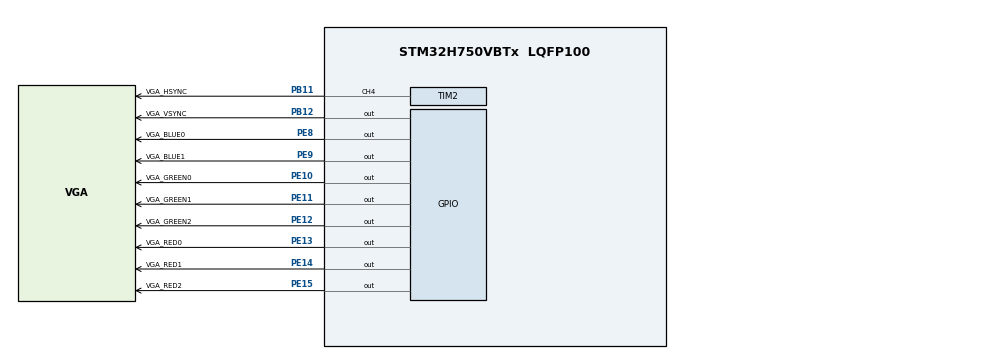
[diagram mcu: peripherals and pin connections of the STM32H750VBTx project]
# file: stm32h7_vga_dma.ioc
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CORTEX_M7.CPU_DCache=Enabled
CORTEX_M7.CPU_ICache=Enabled
Dma.Request0=TIM1_UP
Dma.TIM1_UP.0.Direction=DMA_MEMORY_TO_PERIPH
Dma.TIM1_UP.0.EventEnable=DISABLE
Dma.TIM1_UP.0.FIFOMode=DMA_FIFOMODE_DISABLE
Dma.TIM1_UP.0.Instance=DMA2_Stream5
Dma.TIM1_UP.0.MemDataAlignment=DMA_MDATAALIGN_HALFWORD
Dma.TIM1_UP.0.MemInc=DMA_MINC_ENABLE
Dma.TIM1_UP.0.Mode=DMA_NORMAL
Dma.TIM1_UP.0.PeriphDataAlignment=DMA_PDATAALIGN_HALFWORD
Dma.TIM1_UP.0.PeriphInc=DMA_PINC_DISABLE
Dma.TIM1_UP.0.Polarity=HAL_DMAMUX_REQ_GEN_RISING
Dma.TIM1_UP.0.Priority=DMA_PRIORITY_VERY_HIGH
Dma.TIM1_UP.0.RequestNumber=1
Dma.TIM1_UP.0.SignalID=NONE
Dma.TIM1_UP.0.SyncEnable=DISABLE
Dma.TIM1_UP.0.SyncPolarity=HAL_DMAMUX_SYNC_NO_EVENT
Dma.TIM1_UP.0.SyncRequestNumber=1
Dma.TIM1_UP.0.SyncSignalID=NONE
Mcu.Family=STM32H7
Mcu.Name=STM32H750VBTx
Mcu.Package=LQFP100
NVIC.DMA2_Stream5_IRQn=true\:0\:0\:false\:false\:true\:false\:true
NVIC.PriorityGroup=NVIC_PRIORITYGROUP_4
NVIC.TIM2_IRQn=true\:0\:0\:false\:false\:true\:true\:true
PA13\ (JTMS/SWDIO).Mode=Serial_Wire
PA13\ (JTMS/SWDIO).Signal=DEBUG_JTMS-SWDIO
PA14\ (JTCK/SWCLK).Mode=Serial_Wire
PA14\ (JTCK/SWCLK).Signal=DEBUG_JTCK-SWCLK
PB11.GPIO_Label=VGA_HSYNC
PB11.GPIO_Speed=GPIO_SPEED_FREQ_VERY_HIGH
PB11.Signal=S_TIM2_CH4
PB12.GPIO_Label=VGA_VSYNC
PB12.GPIO_Speed=GPIO_SPEED_FREQ_VERY_HIGH
PB12.Signal=GPIO_Output
PC14-OSC32_IN\ (OSC32_IN).Mode=LSE-External-Oscillator
PC14-OSC32_IN\ (OSC32_IN).Signal=RCC_OSC32_IN
PC15-OSC32_OUT\ (OSC32_OUT).Mode=LSE-External-Oscillator
PC15-OSC32_OUT\ (OSC32_OUT).Signal=RCC_OSC32_OUT
PE10.GPIO_Label=VGA_GREEN0
PE10.GPIO_Speed=GPIO_SPEED_FREQ_VERY_HIGH
PE10.Signal=GPIO_Output
PE11.GPIO_Label=VGA_GREEN1
PE11.GPIO_Speed=GPIO_SPEED_FREQ_VERY_HIGH
PE11.Signal=GPIO_Output
PE12.GPIO_Label=VGA_GREEN2
PE12.GPIO_Speed=GPIO_SPEED_FREQ_VERY_HIGH
PE12.Signal=GPIO_Output
PE13.GPIO_Label=VGA_RED0
PE13.GPIO_Speed=GPIO_SPEED_FREQ_VERY_HIGH
PE13.Signal=GPIO_Output
PE14.GPIO_Label=VGA_RED1
PE14.GPIO_Speed=GPIO_SPEED_FREQ_VERY_HIGH
PE14.Signal=GPIO_Output
PE15.GPIO_Label=VGA_RED2
PE15.GPIO_Speed=GPIO_SPEED_FREQ_VERY_HIGH
PE15.Signal=GPIO_Output
PE8.GPIO_Label=VGA_BLUE0
PE8.GPIO_Speed=GPIO_SPEED_FREQ_VERY_HIGH
PE8.Signal=GPIO_Output
PE9.GPIO_Label=VGA_BLUE1
PE9.GPIO_Speed=GPIO_SPEED_FREQ_VERY_HIGH
PE9.Signal=GPIO_Output
PH0-OSC_IN\ (PH0).Mode=HSE-External-Oscillator
PH0-OSC_IN\ (PH0).Signal=RCC_OSC_IN
PH1-OSC_OUT\ (PH1).Mode=HSE-External-Oscillator
PH1-OSC_OUT\ (PH1).Signal=RCC_OSC_OUT
ProjectManager.HeapSize=0x400
ProjectManager.StackSize=0x800
ProjectManager.TargetToolchain=Makefile
RCC.ADCFreq_Value=200000000
RCC.APB1Freq_Value=105000000
RCC.APB2Freq_Value=105000000
RCC.APB3Freq_Value=105000000
RCC.APB4Freq_Value=105000000
RCC.CSICalibrationValue=16
RCC.CortexFreq_Value=420000000
RCC.D1PPRE=RCC_APB3_DIV2
RCC.D2PPRE1=RCC_APB1_DIV2
RCC.D2PPRE2=RCC_APB2_DIV2
RCC.D3PPRE=RCC_APB4_DIV2
RCC.DIVM1=4
RCC.DIVM2=4
RCC.DIVM3=20
RCC.DIVN1=420
RCC.DIVN2=200
RCC.DIVN3=503
RCC.DIVQ3=4
RCC.DIVR3=8
RCC.FLatency=FLASH_LATENCY_2
RCC.HCLKFreq_Value=210000000
RCC.HPRE=RCC_HCLK_DIV2
RCC.HSE_VALUE=8000000
RCC.HSICalibrationValue=32
RCC.PLL2FRACN=0
RCC.PLL3FRACN=0
RCC.PLLFRACN=0
RCC.PLLSourceVirtual=RCC_PLLSOURCE_HSE
RCC.PWR_Regulator_Voltage_Scale=PWR_REGULATOR_VOLTAGE_SCALE0
RCC.ProductRev=revY
RCC.QSPICLockSelection=RCC_QSPICLKSOURCE_CLKP
RCC.RCC_TIM_PRescaler_Selection=RCC_TIMPRES_DESACTIVATED
RCC.RTCClockSelection=RCC_RTCCLKSOURCE_LSE
RCC.SDMMC1CLockSelection=RCC_SDMMCCLKSOURCE_PLL2
RCC.SYSCLKFreq_VALUE=420000000
RCC.SYSCLKSource=RCC_SYSCLKSOURCE_PLLCLK
RCC.USBCLockSelection=RCC_USBCLKSOURCE_PLL3
RCC.USBFreq_Value=50300000
SH.S_TIM2_CH4.0=TIM2_CH4,PWM Generation4 CH4
TIM1.Period=VGA_TIM1_PERIODE
TIM1.Prescaler=VGA_TIM1_PRESCALE
TIM2.Channel-PWM\ Generation3\ No\ Output=TIM_CHANNEL_3
TIM2.Channel-PWM\ Generation4\ CH4=TIM_CHANNEL_4
TIM2.OCPolarity_3=TIM_OCPOLARITY_LOW
TIM2.OCPolarity_4=TIM_OCPOLARITY_LOW
TIM2.Period=VGA_TIM2_HSYNC_PERIODE
TIM2.Prescaler=VGA_TIM2_HSYNC_PRESCALE
TIM2.Pulse-PWM\ Generation3\ No\ Output=VGA_TIM2_HTRIGGER_START - VGA_TIM2_DMA_DELAY
TIM2.Pulse-PWM\ Generation4\ CH4=VGA_TIM2_HSYNC_IMP
VP_RNG_VS_RNG.Mode=RNG_Activate
VP_RTC_VS_RTC_Activate.Mode=RTC_Enabled
VP_TIM1_VS_ClockSourceINT.Mode=Internal
VP_TIM2_VS_ClockSourceINT.Mode=Internal
VP_TIM2_VS_no_output3.Mode=PWM Generation3 No Output
board=custom

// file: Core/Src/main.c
/* USER CODE BEGIN Header */

/*** iso-8859-5 code for support cyrilic symbols ***/

/**
  ******************************************************************************
  * @file           : main.c
  * @brief          : Main program body
  *
  ****************************************************************************
  * @attention
  *
  * <h2><center>&copy; Copyright (c) 2020 STMicroelectronics.
  * All rights reserved.</center></h2>
  *
  * This software component is licensed by ST under BSD 3-Clause license,
  * the "License"; You may not use this file except in compliance with the
  * License. You may obtain a copy of the License at:
  *                        opensource.org/licenses/BSD-3-Clause
  *
  ******************************************************************************
  */
/* USER CODE END Header */
#include "main.h"
#include "dma.h"
#include "rng.h"
#include "rtc.h"
#include "tim.h"
#include "gpio.h"

/* USER CODE BEGIN Includes */

#include "fonts_all_includes.h"
#include "vga_adafruit.h"

//stdc
#include <stdio.h>
#include <string.h>
#include <stdlib.h>
#include <math.h>
#include <errno.h>

#include "icons.h"
#include "Red_Button.h"
#include "Green_button.h"
#include "Yellow_Button.h"

#include "stm32_ub_gol.h"

/* USER CODE END Includes */

/* USER CODE BEGIN PD */
#define MAX_INPUT_LEN 1024
/* USER CODE END PD */

/* USER CODE BEGIN PV */

extern uint8_t penguin[];

char buffVal0[12];
char buffVal1[12];
char buffVal2[12];
char buffVal3[12];
char buffVal4[12];
char buffVal5[12];
char buffVal6[12];
char buffVal7[12];

uint16_t Value0;
uint16_t Value1;
uint16_t Value2;
uint16_t Value3;
uint16_t Value4;
uint16_t Value5;
uint16_t Value6;
uint16_t Value7;

char input_buff[MAX_INPUT_LEN] = {};

uint32_t wait_time = 0;
uint32_t start_time = 0;
// uint32_t interpreter_data_len = 0;

/* USER CODE END PV */

void SystemClock_Config(void);
/* USER CODE BEGIN PFP */
char UART_Check_for_string(char * ptr, uint32_t max_size);
/* USER CODE END PFP */

/* USER CODE BEGIN 0 */
#include "stdlib.h"
uint16_t rand16(void)
{
  // uint16_t rnd = random();
  // return rnd;
  return (uint16_t)(READ_REG(RNG->DR));
}

#define sinus_points 255
#define minimal_amplitude 5

float PI = 3.14159;
float sin_table_a[sinus_points];
float sin_table_b[sinus_points];
float sin_table_c[sinus_points];

void sin_init(uint16_t i)
{
  sin_table_c[(i+(sinus_points/3*1)) & (sinus_points)]=
  sin_table_b[(i+(sinus_points/3*2)) & (sinus_points)]=
  sin_table_a[(i+(sinus_points/3*3)) & (sinus_points)]=
  ((sin((float) i*(2*PI/sinus_points)))*(sinus_points/2));
}

void sinusoide_scroll(void)
{
  for(uint16_t shift=80 ; shift<360; shift++)
  {
    for(uint16_t i = 0; i<UB_VGA_Get_X() ; i++)
    {
      static volatile uint16_t x;
      x = i & sinus_points;
      if(x>=sinus_points) x-=sinus_points;
        fillRect(i, (sin_table_a[x]/2)+shift,1,2, VGA_COL_BLUE);
        fillRect(i, (sin_table_b[x]/2)+shift,1,2, VGA_COL_GREEN);
        fillRect(i, (sin_table_c[x]/2)+shift,1,2, VGA_COL_RED);
    }
    for(uint32_t i=0;i<1e6;i++) __asm volatile ("nop");
    for(uint16_t i = 0; i<UB_VGA_Get_X() ; i++)
    {
      static volatile uint16_t x;
      x = i & sinus_points;
      if(x>=sinus_points) x-=sinus_points;
      fillRect(i, (sin_table_a[x]/2)+shift,1,2, 0);
      fillRect(i, (sin_table_b[x]/2)+shift,1,2, 0);
      fillRect(i, (sin_table_c[x]/2)+shift,1,2, 0);
    }
  }
  for(uint16_t shift=360 ; shift>80; shift--)
  {
    for(uint16_t i = UB_VGA_Get_X(); i>0 ; i--)
    {
      static volatile uint16_t x;
      x = i & sinus_points;
      if(x>=sinus_points) x-=sinus_points;
      fillRect(i, (sin_table_a[x]/2)+shift,1,2, VGA_COL_BLUE);
      fillRect(i, (sin_table_b[x]/2)+shift,1,2, VGA_COL_GREEN);
      fillRect(i, (sin_table_c[x]/2)+shift,1,2, VGA_COL_RED);
    }
    for(uint32_t i=0;i<1e6;i++) __asm volatile ("nop");
    for(uint16_t i = UB_VGA_Get_X(); i>0 ; i--)
    {
      static volatile uint16_t x;
      x = i & sinus_points;
      if(x>=sinus_points) x-=sinus_points;
      fillRect(i, (sin_table_a[x]/2)+shift,1,2, 0);
      fillRect(i, (sin_table_b[x]/2)+shift,1,2, 0);
      fillRect(i, (sin_table_c[x]/2)+shift,1,2, 0);
    }
  }
}

void draw_dot_grid(void)
{
    for(uint8_t i=0;i<0b11111111;i+=0b11)
    {
      /*
      for(uint16_t x = 20; x<UB_VGA_Get_Y()-16; x+= 4)
          for(uint16_t i = 4; i<UB_VGA_Get_X()-16; i+=32)writePixel(i, x, VGA_COL_BLUE);
      for(uint16_t x = 10; x<UB_VGA_Get_Y()-16; x+=32)
          for(uint16_t i = 4; i<UB_VGA_Get_X()-16; i+= 4)writePixel(i, x, VGA_COL_GREEN);
      */
      for(uint16_t x = 16;x<UB_VGA_Get_Y()-15;x+= 8)
        for(uint16_t i = 16; i<UB_VGA_Get_X()-15; i+=32) fillRect(i,x,1,1,VGA_COL_BLUE);
      for(uint16_t x = 16;x<UB_VGA_Get_Y()-15;x+=32)
        for(uint16_t i = 16; i<UB_VGA_Get_X()-15; i+=8) fillRect(i,x,1,1,VGA_COL_GREEN);
    }
}

void draw_dot_grid2(void)
{
  for(uint16_t i = 5; i<UB_VGA_Get_Y()-5; i+=30)  { draw_dot_line(5, i, UB_VGA_Get_X()-5, i, 0xff); }
  for(uint16_t i = 5; i<UB_VGA_Get_X()-5; i+=30)  { draw_dot_line(i, 5, i, UB_VGA_Get_Y()-5, 0xff); }
}

void draw_grid(void)
{
  for(uint16_t i = 5; i<UB_VGA_Get_Y()-5; i+=30)  { writeLine(5, i, UB_VGA_Get_X()-5, i, rand16()); }
  for(uint16_t i = 5; i<UB_VGA_Get_X()-5; i+=30)  { writeLine(i, 5, i, UB_VGA_Get_Y()-5, rand16()); }
}

void draw_pixels(void)
{
  for(uint32_t i=0;i<1e5;i++)
  {
    writePixel(rand16()%UB_VGA_Get_X(), rand16()%UB_VGA_Get_Y(), 0);
    if(i%100) writePixel(rand16()%UB_VGA_Get_X(), rand16()%UB_VGA_Get_Y(), rand16());
    // for(uint32_t i=0;i<10;i++) __asm volatile ("nop");
  }
}

void analog_read(void)
{
//   Value1 = adc_get_value(ADC1, GPIOA, 0x1UL << 1);
//   Value2 = adc_get_value(ADC1, GPIOA, 0x1UL << 2);
//   Value3 = adc_get_value(ADC1, GPIOA, 0x1UL << 3);
//   Value4 = adc_get_value(ADC1, GPIOA, 0x1UL << 4);
//   Value5 = adc_get_value(ADC1, GPIOA, 0x1UL << 5);
//   Value6 = adc_get_value(ADC1, GPIOA, 0x1UL << 6);
//   Value7 = adc_get_value(ADC1, GPIOA, 0x1UL << 7);
//
//   sprintf(buffVal1,"A1 %3d,\n",Value1);
//   sprintf(buffVal2,"A= %3d,\n",'A');
//   sprintf(buffVal3,"A3 %3d,\n",Value3);
//   sprintf(buffVal4,"A4 %3d,\n",Value4);
//   sprintf(buffVal5,"A5 %3d,\n",Value5);
//   sprintf(buffVal6,"A6 %3d,\n",Value6);
//   sprintf(buffVal7,"A7 %3d,\n",Value7);
//
//   LCD_Font(15,   20, "read adc channel:",  &AvrileSerif_Regular12pt8b,  1, VGA_COL_RED,  0);
//
//   // LCD_Font(45,   60, buffVal1, &ArialMT12pt8b,  1, VGA_COL_RED,    0);
//   LCD_Font(15,   50, buffVal2, &sofia6pt7b,  1, VGA_COL_GREEN,  0);
//   LCD_Font(15,   70, buffVal3, &sofia8pt7b,  1, VGA_COL_YELLOW, 0);
//   LCD_Font(15,   90, buffVal4, &sofia10pt7b, 1, VGA_COL_YELLOW, 0);
//   LCD_Font(15,  110, buffVal5, &sofia12pt7b, 1, VGA_COL_YELLOW, 0);
//   LCD_Font(15,  135, buffVal6, &sofia14pt7b, 1, VGA_COL_YELLOW, 0);
//   LCD_Font(15,  165, buffVal7, &sofia16pt7b, 1, VGA_COL_YELLOW, 0);
//
//   for(uint32_t i=0;i<1e7;i++) __asm volatile ("nop");
}

/* USER CODE END 0 */

int main(void)
{

  /* Enable I-Cache---------------------------------------------------------*/
  SCB_EnableICache();

  /* Enable D-Cache---------------------------------------------------------*/
  SCB_EnableDCache();

  /* MCU Configuration--------------------------------------------------------*/

  /* Reset of all peripherals, Initializes the Flash interface and the Systick. */

  LL_APB4_GRP1_EnableClock(LL_APB4_GRP1_PERIPH_SYSCFG);

  NVIC_SetPriorityGrouping(NVIC_PRIORITYGROUP_4);

  /* System interrupt init*/

  /* USER CODE BEGIN Init */
  UB_VGA_ll_Init();
  /* USER CODE END Init */

  /* Configure the system clock */
  SystemClock_Config();

  /* Initialize all configured peripherals */
  MX_GPIO_Init();
  MX_DMA_Init();
  MX_RTC_Init();
  MX_TIM1_Init();
  MX_TIM2_Init();
  MX_RNG_Init();
  /* USER CODE BEGIN 2 */

  // Init VGA-Screen
  UB_VGA_Screen_Init(640,480);

  printf("\rstarted display\r\n");

  /* USER CODE END 2 */

  /* Infinite loop */
  /* USER CODE BEGIN WHILE */

  for (uint32_t i=0; i<sinus_points; i++)
  {
    sin_init(i);
  }

  GOL_Init();
  GOL_SetCellsRandom();
  GOL_ShowAllCells();

  while(1)
  {
    GOL_UpdateAllCells();
    GOL_ShowAllCells();
    for(uint32_t i=0;i<1e6;i++) __asm volatile ("nop");

    /* USER CODE END WHILE */

  }
}

void SystemClock_Config(void)
{
  LL_FLASH_SetLatency(LL_FLASH_LATENCY_2);
  while(LL_FLASH_GetLatency()!= LL_FLASH_LATENCY_2)
  {
  }
  LL_PWR_ConfigSupply(LL_PWR_LDO_SUPPLY);
  LL_PWR_SetRegulVoltageScaling(LL_PWR_REGU_VOLTAGE_SCALE0);
  LL_RCC_HSE_Enable();

   /* Wait till HSE is ready */
  while(LL_RCC_HSE_IsReady() != 1)
  {

  }
  LL_RCC_HSI48_Enable();

   /* Wait till HSI48 is ready */
  while(LL_RCC_HSI48_IsReady() != 1)
  {

  }
  LL_PWR_EnableBkUpAccess();
  LL_RCC_LSE_SetDriveCapability(LL_RCC_LSEDRIVE_LOW);
  LL_RCC_LSE_Enable();

   /* Wait till LSE is ready */
  while(LL_RCC_LSE_IsReady() != 1)
  {

  }
  LL_RCC_PLL_SetSource(LL_RCC_PLLSOURCE_HSE);
  LL_RCC_PLL1P_Enable();
  LL_RCC_PLL1R_Enable();
  LL_RCC_PLL1_SetVCOInputRange(LL_RCC_PLLINPUTRANGE_2_4);
  LL_RCC_PLL1_SetVCOOutputRange(LL_RCC_PLLVCORANGE_WIDE);
  LL_RCC_PLL1_SetM(4);
  LL_RCC_PLL1_SetN(420);
  LL_RCC_PLL1_SetP(2);
  LL_RCC_PLL1_SetQ(2);
  LL_RCC_PLL1_SetR(2);
  LL_RCC_PLL1_Enable();

   /* Wait till PLL is ready */
  while(LL_RCC_PLL1_IsReady() != 1)
  {
  }

   /* Intermediate AHB prescaler 2 when target frequency clock is higher than 80 MHz */
   LL_RCC_SetAHBPrescaler(LL_RCC_AHB_DIV_2);

  LL_RCC_SetSysClkSource(LL_RCC_SYS_CLKSOURCE_PLL1);
  LL_RCC_SetSysPrescaler(LL_RCC_SYSCLK_DIV_1);
  LL_RCC_SetAHBPrescaler(LL_RCC_AHB_DIV_2);
  LL_RCC_SetAPB1Prescaler(LL_RCC_APB1_DIV_2);
  LL_RCC_SetAPB2Prescaler(LL_RCC_APB2_DIV_2);
  LL_RCC_SetAPB3Prescaler(LL_RCC_APB3_DIV_2);
  LL_RCC_SetAPB4Prescaler(LL_RCC_APB4_DIV_2);

  LL_Init1msTick(420000000);

  LL_SetSystemCoreClock(420000000);
}

void Error_Handler(void)
{
}

/************************ (C) COPYRIGHT STMicroelectronics *****END OF FILE****/
